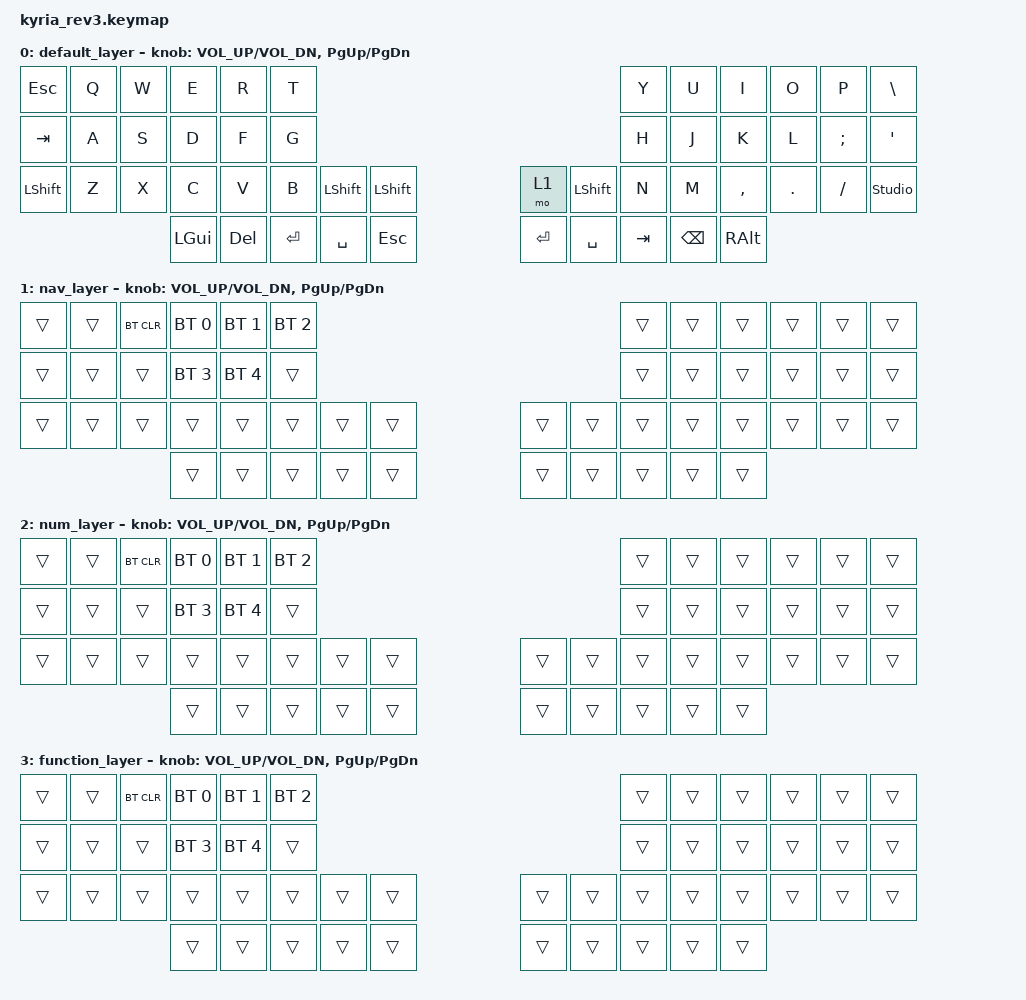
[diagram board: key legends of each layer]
/*
 * Copyright (c) 2023 The ZMK Contributors
 *
 * SPDX-License-Identifier: MIT
 */

#include <behaviors.dtsi>
#include <dt-bindings/zmk/bt.h>
#include <dt-bindings/zmk/keys.h>

/* Uncomment this block if using RGB
&led_strip {
    chain-length = <6>;
    // chain-length = <31>; // Uncomment if using both per-key and underglow LEDs
    // chain-length = <25>; // Uncomment if using only per-key LEDs.
};
 */

/ {
    keymap {
        compatible = "zmk,keymap";

        default_layer {
            // ---------------------------------------------------------------------------------------------------------------------------------
            // |  ESC  |  Q  |  W  |  E   |  R   |  T   |                                          |  Y   |  U    |  I    |  O   |   P   |   \  |
            // |  TAB  |  A  |  S  |  D   |  F   |  G   |                                          |  H   |  J    |  K    |  L   |   ;   |   '  |
            // | SHIFT |  Z  |  X  |  C   |  V   |  B   | L SHIFT | L SHIFT |  | LAYER 1 | L SHIFT |  N   |  M    |  ,    |  .   |   /   | CTRL |
            //                     | GUI  | DEL  | RET  |  SPACE  |   ESC   |  |   RET   |  SPACE  | TAB  | BSPC  | R-ALT |
            bindings = <
            &kp ESC   &kp Q &kp W &kp E &kp R &kp T                                                  &kp Y &kp U  &kp I     &kp O   &kp P    &kp BSLH
            &kp TAB   &kp A &kp S &kp D &kp F &kp G                                                  &kp H &kp J  &kp K     &kp L   &kp SEMI &kp SQT
            &kp LSHFT &kp Z &kp X &kp C &kp V &kp B &kp LSHFT &kp LSHFT            &mo 1   &kp LSHFT &kp N &kp M  &kp COMMA &kp DOT &kp FSLH &studio_unlock
                                  &kp LGUI &kp DEL &kp RET &kp SPACE &kp ESC       &kp RET &kp SPACE &kp TAB &kp BSPC &kp RALT
            >;

            sensor-bindings = <&inc_dec_kp C_VOL_UP C_VOL_DN &inc_dec_kp PG_UP PG_DN>;
        };
                nav_layer {
                    // ---------------------------------------------------------------------------------------------------------------------------------
                    // |       |      |BT_CLR|BTSEL0|BTSEL1|BTSEL2|                                         |      |      |      |      |      |      |
                    // |       |      |      |BTSEL3|BTSEL4|      |                                         |      |      |      |      |      |      |
                    // |       |      |      |      |      |      |      |      |      |      |      |      |      |      |      |      |      |      |
                    //                       |      |      |      |      |      |      |      |      |      |      |      |      |
                    bindings = <
                    &trans &trans &bt BT_CLR &bt BT_SEL 0 &bt BT_SEL 1 &bt BT_SEL 2              &trans &trans &trans &trans &trans &trans
                    &trans &trans &trans     &bt BT_SEL 3 &bt BT_SEL 4 &trans                    &trans &trans &trans &trans &trans &trans
                    &trans &trans &trans &trans &trans &trans &trans &trans        &trans &trans &trans &trans &trans &trans &trans &trans
                                         &trans &trans &trans &trans &trans        &trans &trans &trans &trans &trans
                    >;

                    sensor-bindings = <&inc_dec_kp C_VOL_UP C_VOL_DN &inc_dec_kp PG_UP PG_DN>;
                };
                        num_layer {
                            // ---------------------------------------------------------------------------------------------------------------------------------
                            // |       |      |BT_CLR|BTSEL0|BTSEL1|BTSEL2|                                         |      |      |      |      |      |      |
                            // |       |      |      |BTSEL3|BTSEL4|      |                                         |      |      |      |      |      |      |
                            // |       |      |      |      |      |      |      |      |      |      |      |      |      |      |      |      |      |      |
                            //                       |      |      |      |      |      |      |      |      |      |      |      |      |
                            bindings = <
                            &trans &trans &bt BT_CLR &bt BT_SEL 0 &bt BT_SEL 1 &bt BT_SEL 2              &trans &trans &trans &trans &trans &trans
                            &trans &trans &trans     &bt BT_SEL 3 &bt BT_SEL 4 &trans                    &trans &trans &trans &trans &trans &trans
                            &trans &trans &trans &trans &trans &trans &trans &trans        &trans &trans &trans &trans &trans &trans &trans &trans
                                                 &trans &trans &trans &trans &trans        &trans &trans &trans &trans &trans
                            >;

                            sensor-bindings = <&inc_dec_kp C_VOL_UP C_VOL_DN &inc_dec_kp PG_UP PG_DN>;
                        };
        function_layer {
            // ---------------------------------------------------------------------------------------------------------------------------------
            // |       |      |BT_CLR|BTSEL0|BTSEL1|BTSEL2|                                         |      |      |      |      |      |      |
            // |       |      |      |BTSEL3|BTSEL4|      |                                         |      |      |      |      |      |      |
            // |       |      |      |      |      |      |      |      |      |      |      |      |      |      |      |      |      |      |
            //                       |      |      |      |      |      |      |      |      |      |      |      |      |
            bindings = <
            &trans &trans &bt BT_CLR &bt BT_SEL 0 &bt BT_SEL 1 &bt BT_SEL 2              &trans &trans &trans &trans &trans &trans
            &trans &trans &trans     &bt BT_SEL 3 &bt BT_SEL 4 &trans                    &trans &trans &trans &trans &trans &trans
            &trans &trans &trans &trans &trans &trans &trans &trans        &trans &trans &trans &trans &trans &trans &trans &trans
                                 &trans &trans &trans &trans &trans        &trans &trans &trans &trans &trans
            >;

            sensor-bindings = <&inc_dec_kp C_VOL_UP C_VOL_DN &inc_dec_kp PG_UP PG_DN>;
        };
    };
};
